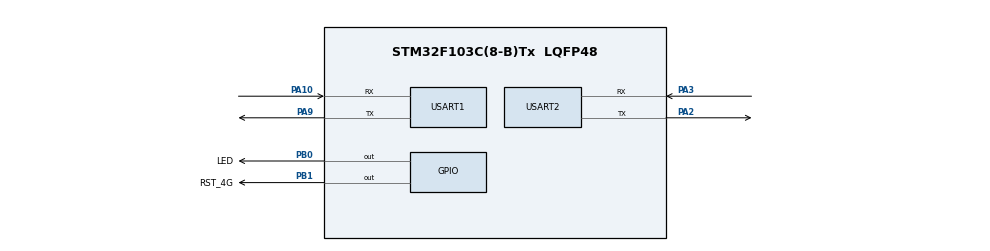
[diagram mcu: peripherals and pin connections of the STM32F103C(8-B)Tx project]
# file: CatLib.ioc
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Mcu.Family=STM32F1
Mcu.Name=STM32F103C(8-B)Tx
Mcu.Package=LQFP48
NVIC.PriorityGroup=NVIC_PRIORITYGROUP_4
NVIC.USART1_IRQn=true\:0\:0\:false\:false\:true\:true\:true\:true
NVIC.USART2_IRQn=true\:0\:0\:false\:false\:true\:true\:true\:true
PA10.Mode=Asynchronous
PA10.Signal=USART1_RX
PA13.Mode=Serial_Wire
PA13.Signal=SYS_JTMS-SWDIO
PA14.Mode=Serial_Wire
PA14.Signal=SYS_JTCK-SWCLK
PA2.Mode=Asynchronous
PA2.Signal=USART2_TX
PA3.Mode=Asynchronous
PA3.Signal=USART2_RX
PA9.Mode=Asynchronous
PA9.Signal=USART1_TX
PB0.GPIO_Label=LED
PB0.Signal=GPIO_Output
PB1.GPIO_Label=RST_4G
PB1.Signal=GPIO_Output
ProjectManager.HeapSize=0x200
ProjectManager.StackSize=0x400
ProjectManager.TargetToolchain=MDK-ARM V5.32
RCC.APB1Freq_Value=8000000
RCC.APB2Freq_Value=8000000
USART1.VirtualMode=VM_ASYNC
USART2.VirtualMode=VM_ASYNC
board=custom

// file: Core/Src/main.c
/* USER CODE BEGIN Header */
/**
  ******************************************************************************
  * @file           : main.c
  * @brief          : Main program body
  ******************************************************************************
  * @attention
  *
  * Copyright (c) 2025 STMicroelectronics.
  * All rights reserved.
  *
  * This software is licensed under terms that can be found in the LICENSE file
  * in the root directory of this software component.
  * If no LICENSE file comes with this software, it is provided AS-IS.
  *
  ******************************************************************************
  */
/* USER CODE END Header */
#include "main.h"
#include "usart.h"
#include "gpio.h"

/* USER CODE BEGIN Includes */
#include "LteUartPort.h"
#include "transfer.h"
/* USER CODE END Includes */

void SystemClock_Config(void);

/* USER CODE BEGIN 0 */
void LED_Trigger(uint32_t time_ms)
{
    static uint32_t time = 0;
    time += time_ms;

    if (time < 1000)
    {
        return;
    }
    time = 0;

    HAL_GPIO_TogglePin(GPIOB, LED_Pin);
}
/* USER CODE END 0 */

int main(void)
{

  /* MCU Configuration--------------------------------------------------------*/

  /* Reset of all peripherals, Initializes the Flash interface and the Systick. */
  HAL_Init();

  /* Configure the system clock */
  SystemClock_Config();

  /* Initialize all configured peripherals */
  MX_GPIO_Init();
  MX_USART1_UART_Init();
  MX_USART2_UART_Init();
  /* USER CODE BEGIN 2 */

//  uint8_t hello[] = "hello STM32\r\n";
//  HAL_UART_Transmit(&huart1, hello, sizeof(hello), 100);

  HW_UART_Start_Recv();

  HW_LTE_Disable();
  HAL_Delay(100);
  HW_LTE_Enable();
  HAL_Delay(5000);

  Main_Init();

  /* USER CODE END 2 */

  /* Infinite loop */
  while (1)
  {

    /* USER CODE BEGIN 3 */
    HAL_Delay(10);
    LED_Trigger(10);
    Main_OnTimer(10);
  }
  /* USER CODE END 3 */
}

void SystemClock_Config(void)
{
  RCC_OscInitTypeDef RCC_OscInitStruct = {0};
  RCC_ClkInitTypeDef RCC_ClkInitStruct = {0};

  /** Initializes the RCC Oscillators according to the specified parameters
  * in the RCC_OscInitTypeDef structure.
  */
  RCC_OscInitStruct.OscillatorType = RCC_OSCILLATORTYPE_HSI;
  RCC_OscInitStruct.HSIState = RCC_HSI_ON;
  RCC_OscInitStruct.HSICalibrationValue = RCC_HSICALIBRATION_DEFAULT;
  RCC_OscInitStruct.PLL.PLLState = RCC_PLL_NONE;
  if (HAL_RCC_OscConfig(&RCC_OscInitStruct) != HAL_OK)
  {
    Error_Handler();
  }

  /** Initializes the CPU, AHB and APB buses clocks
  */
  RCC_ClkInitStruct.ClockType = RCC_CLOCKTYPE_HCLK|RCC_CLOCKTYPE_SYSCLK
                              |RCC_CLOCKTYPE_PCLK1|RCC_CLOCKTYPE_PCLK2;
  RCC_ClkInitStruct.SYSCLKSource = RCC_SYSCLKSOURCE_HSI;
  RCC_ClkInitStruct.AHBCLKDivider = RCC_SYSCLK_DIV1;
  RCC_ClkInitStruct.APB1CLKDivider = RCC_HCLK_DIV1;
  RCC_ClkInitStruct.APB2CLKDivider = RCC_HCLK_DIV1;

  if (HAL_RCC_ClockConfig(&RCC_ClkInitStruct, FLASH_LATENCY_0) != HAL_OK)
  {
    Error_Handler();
  }
}

void Error_Handler(void)
{
  __disable_irq();
  while (1)
  {
  }
}
